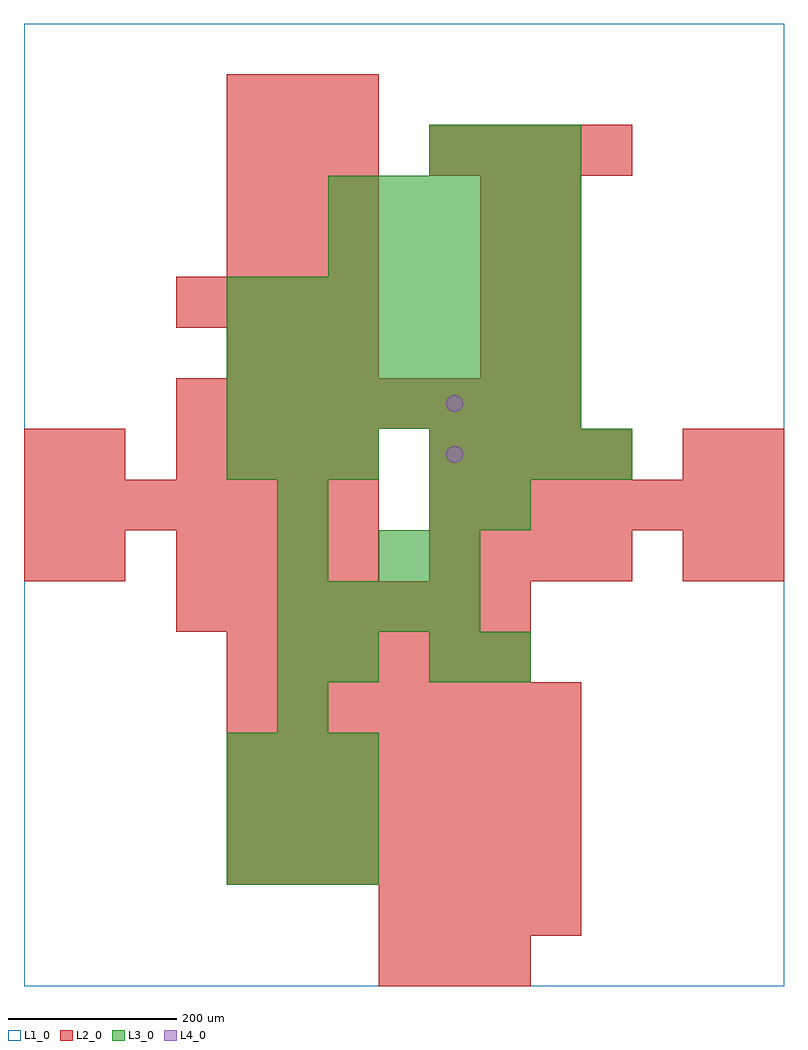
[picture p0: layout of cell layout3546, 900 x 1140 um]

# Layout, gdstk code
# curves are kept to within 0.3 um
import gdstk
lib = gdstk.Library(unit=1e-6, precision=1e-09)
def R(c, l, rs):  # rectangles x0, y0, x1, y1
    for r in rs: c.add(gdstk.rectangle(r[:2], r[2:], *l))
def A(c, l, x, y, w, h, nx, ny, dx, dy):  # array of equal rectangles
    R(c, l, [(x+i*dx, y+j*dy, x+i*dx+w, y+j*dy+h) for i in range(nx) for j in range(ny)])
def P(c, l, *ps):  # polygons
    for p in ps: c.add(gdstk.Polygon(p, *l))
L1_0 = (1, 0)
L2_0 = (2, 0)
L3_0 = (3, 0)
L4_0 = (4, 0)

layout3546 = lib.new_cell('layout3546')
R(layout3546, L1_0, [(0,0,900,1140)])
A(layout3546, L2_0, 420, 0, 60, 60, 3, 1, 60, 0)
A(layout3546, L2_0, 420, 60, 60, 60, 4, 1, 60, 0)
A(layout3546, L2_0, 240, 120, 60, 60, 7, 4, 60, 60)
A(layout3546, L2_0, 240, 360, 60, 60, 6, 1, 60, 0)
A(layout3546, L2_0, 180, 420, 60, 60, 7, 1, 60, 0)
A(layout3546, L2_0, 180, 480, 60, 60, 4, 2, 60, 120)
A(layout3546, L2_0, 480, 480, 60, 60, 4, 2, 60, 120)
A(layout3546, L2_0, 0, 540, 60, 60, 7, 1, 60, 0)
A(layout3546, L2_0, 480, 540, 60, 60, 7, 1, 60, 0)
A(layout3546, L2_0, 180, 660, 60, 60, 8, 1, 60, 0)
A(layout3546, L2_0, 240, 720, 60, 60, 3, 2, 60, 120)
A(layout3546, L2_0, 540, 720, 60, 60, 1, 4, 0, 60)
A(layout3546, L2_0, 600, 720, 60, 60, 1, 4, 0, 60)
A(layout3546, L2_0, 180, 780, 60, 60, 4, 1, 60, 0)
A(layout3546, L2_0, 240, 900, 60, 60, 3, 3, 60, 60)
A(layout3546, L2_0, 480, 960, 60, 60, 4, 1, 60, 0)
R(layout3546, L2_0, [(0,480,60,540), (60,480,120,540), (780,480,840,540), (840,480,900,540), (0,600,60,660), (60,600,120,660), (780,600,840,660), (840,600,900,660)])
A(layout3546, L3_0, 240, 120, 60, 60, 3, 3, 60, 60)
A(layout3546, L3_0, 300, 420, 60, 60, 4, 1, 60, 0)
A(layout3546, L3_0, 240, 600, 60, 60, 3, 1, 60, 0)
A(layout3546, L3_0, 480, 600, 60, 60, 4, 1, 60, 0)
A(layout3546, L3_0, 240, 660, 60, 60, 7, 3, 60, 60)
A(layout3546, L3_0, 360, 840, 60, 60, 5, 2, 60, 60)
A(layout3546, L3_0, 480, 960, 60, 60, 3, 1, 60, 0)
R(layout3546, L3_0, [(300,300,360,360), (300,360,360,420), (360,360,420,420), (480,360,540,420), (540,360,600,420), (300,480,360,540), (420,480,480,540), (480,480,540,540), (300,540,360,600), (480,540,540,600), (540,540,600,600)])
P(layout3546, L4_0, [(520,630),(519.239,633.827),(517.071,637.071),(513.827,639.239),(510,640),(506.173,639.239),(502.929,637.071),(500.761,633.827),(500,630),(500.761,626.173),(502.929,622.929),(506.173,620.761),(510,620),(513.827,620.761),(517.071,622.929),(519.239,626.173)],
  [(520,690),(519.239,693.827),(517.071,697.071),(513.827,699.239),(510,700),(506.173,699.239),(502.929,697.071),(500.761,693.827),(500,690),(500.761,686.173),(502.929,682.929),(506.173,680.761),(510,680),(513.827,680.761),(517.071,682.929),(519.239,686.173)])

lib.write_gds('layout3546.gds')
